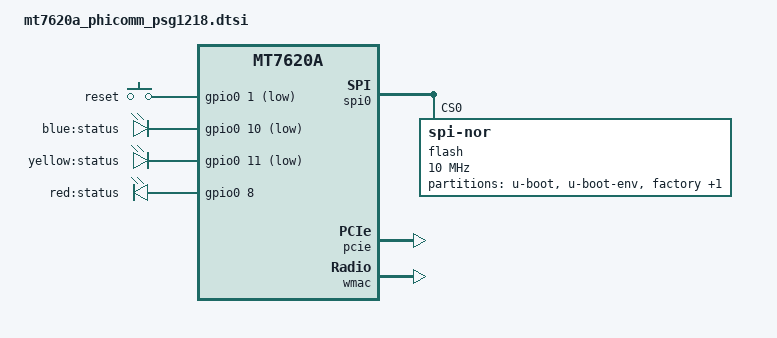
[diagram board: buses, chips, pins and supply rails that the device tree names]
#include "mt7620a.dtsi"

#include <dt-bindings/gpio/gpio.h>
#include <dt-bindings/input/input.h>

/ {
	compatible = "phicomm,psg1218", "ralink,mt7620a-soc";

	aliases {
		led-boot = &led_blue;
		led-failsafe = &led_blue;
		led-running = &led_blue;
		led-upgrade = &led_blue;
	};

	keys {
		compatible = "gpio-keys";

		reset {
			label = "reset";
			gpios = <&gpio0 1 GPIO_ACTIVE_LOW>;
			linux,code = <KEY_RESTART>;
		};
	};

	leds {
		compatible = "gpio-leds";

		led_blue: blue {
			label = "blue:status";
			gpios = <&gpio0 10 GPIO_ACTIVE_LOW>;
			default-state = "on";
		};

		yellow {
			label = "yellow:status";
			gpios = <&gpio0 11 GPIO_ACTIVE_LOW>;
		};

		red {
			label = "red:status";
			gpios = <&gpio0 8 GPIO_ACTIVE_HIGH>;
		};
	};
};

&spi0 {
	status = "okay";

	flash@0 {
		compatible = "jedec,spi-nor";
		reg = <0>;
		spi-max-frequency = <10000000>;

		partitions {
			compatible = "fixed-partitions";
			#address-cells = <1>;
			#size-cells = <1>;

			partition@0 {
				label = "u-boot";
				reg = <0x0 0x30000>;
				read-only;
			};

			partition@20000 {
				label = "u-boot-env";
				reg = <0x30000 0x10000>;
				read-only;
			};

			factory: partition@30000 {
				label = "factory";
				reg = <0x40000 0x10000>;
				read-only;
			};

			partition@40000 {
				compatible = "denx,uimage";
				label = "firmware";
				reg = <0x50000 0x7b0000>;
			};
		};
	};
};

&pcie {
	status = "okay";
};

&pcie0 {
	mt76@0,0 {
		reg = <0x0000 0 0 0 0>;
		mediatek,mtd-eeprom = <&factory 0x8000>;
		ieee80211-freq-limit = <5000000 6000000>;
	};
};

&wmac {
	ralink,mtd-eeprom = <&factory 0x0>;
};
